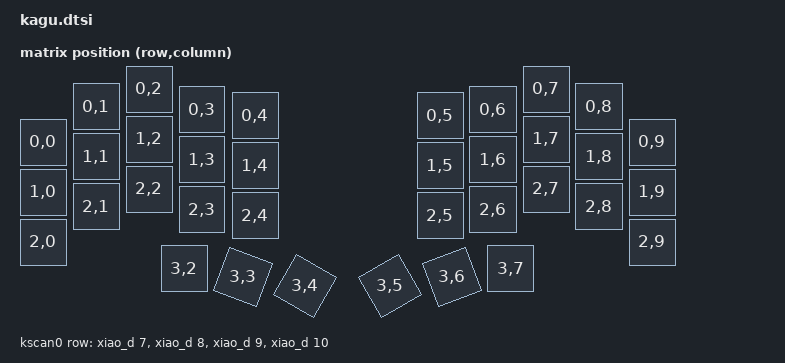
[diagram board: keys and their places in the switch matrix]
#include <dt-bindings/zmk/matrix_transform.h>
#include <physical_layouts.dtsi>

/ {
    chosen {
        zmk,kscan = &kscan0;
        zmk,physical-layout = &default_layout;
    };

    kscan0: kscan {
        compatible = "zmk,kscan-gpio-matrix";
        diode-direction = "col2row";
        wakeup-source;

        // col-gpios are per-half, see kagu_{left,right}.overlay
        row-gpios
            = <&xiao_d  7 (GPIO_ACTIVE_HIGH | GPIO_PULL_DOWN)>   // row1
            , <&xiao_d  8 (GPIO_ACTIVE_HIGH | GPIO_PULL_DOWN)>   // row2
            , <&xiao_d  9 (GPIO_ACTIVE_HIGH | GPIO_PULL_DOWN)>   // row3
            , <&xiao_d 10 (GPIO_ACTIVE_HIGH | GPIO_PULL_DOWN)>   // row4
            ;
    };

    // Columns 0-4 are the left half, 5-9 the right half; the right overlay
    // shifts its local columns into 5-9 with col-offset.
//  | SW5  | SW4  | SW3  | SW2  | SW1  |   | SW1  | SW2  | SW3  | SW4  | SW5  |
//  | SW10 | SW9  | SW8  | SW7  | SW6  |   | SW6  | SW7  | SW8  | SW9  | SW10 |
//  | SW15 | SW14 | SW13 | SW12 | SW11 |   | SW11 | SW12 | SW13 | SW14 | SW15 |
//                | SW18 | SW17 | SW16 |   | SW16 | SW17 | SW18 |
    default_transform: keymap_transform {
        compatible = "zmk,matrix-transform";
        columns = <10>;
        rows = <4>;
        map = <
RC(0,0) RC(0,1) RC(0,2) RC(0,3) RC(0,4)   RC(0,5) RC(0,6) RC(0,7) RC(0,8) RC(0,9)
RC(1,0) RC(1,1) RC(1,2) RC(1,3) RC(1,4)   RC(1,5) RC(1,6) RC(1,7) RC(1,8) RC(1,9)
RC(2,0) RC(2,1) RC(2,2) RC(2,3) RC(2,4)   RC(2,5) RC(2,6) RC(2,7) RC(2,8) RC(2,9)
                RC(3,2) RC(3,3) RC(3,4)   RC(3,5) RC(3,6) RC(3,7)
        >;
    };

    // Key positions for ZMK Studio, from the PCB switch centres in
    // case/kagu_{left,right}_geom.scad (1u = 17mm, y flipped, right half
    // shifted 110mm right). Same order as default_transform.
    default_layout: default_layout {
        compatible = "zmk,physical-layout";
        display-name = "Default";
        transform = <&default_transform>;
        kscan = <&kscan0>;
        keys  //                     w   h    x    y     rot   rx   ry
            = <&key_physical_attrs 100 100    0  112       0    0    0>
            , <&key_physical_attrs 100 100  106   41       0    0    0>
            , <&key_physical_attrs 100 100  212    6       0    0    0>
            , <&key_physical_attrs 100 100  318   47       0    0    0>
            , <&key_physical_attrs 100 100  424   59       0    0    0>
            , <&key_physical_attrs 100 100  794   59       0    0    0>
            , <&key_physical_attrs 100 100  900   47       0    0    0>
            , <&key_physical_attrs 100 100 1006    6       0    0    0>
            , <&key_physical_attrs 100 100 1112   41       0    0    0>
            , <&key_physical_attrs 100 100 1218  112       0    0    0>
            , <&key_physical_attrs 100 100    0  212       0    0    0>
            , <&key_physical_attrs 100 100  106  141       0    0    0>
            , <&key_physical_attrs 100 100  212  106       0    0    0>
            , <&key_physical_attrs 100 100  318  147       0    0    0>
            , <&key_physical_attrs 100 100  424  159       0    0    0>
            , <&key_physical_attrs 100 100  794  159       0    0    0>
            , <&key_physical_attrs 100 100  900  147       0    0    0>
            , <&key_physical_attrs 100 100 1006  106       0    0    0>
            , <&key_physical_attrs 100 100 1112  141       0    0    0>
            , <&key_physical_attrs 100 100 1218  212       0    0    0>
            , <&key_physical_attrs 100 100    0  312       0    0    0>
            , <&key_physical_attrs 100 100  106  241       0    0    0>
            , <&key_physical_attrs 100 100  212  206       0    0    0>
            , <&key_physical_attrs 100 100  318  247       0    0    0>
            , <&key_physical_attrs 100 100  424  259       0    0    0>
            , <&key_physical_attrs 100 100  794  259       0    0    0>
            , <&key_physical_attrs 100 100  900  247       0    0    0>
            , <&key_physical_attrs 100 100 1006  206       0    0    0>
            , <&key_physical_attrs 100 100 1112  241       0    0    0>
            , <&key_physical_attrs 100 100 1218  312       0    0    0>
            , <&key_physical_attrs 100 100  282  365       0    0    0>
            , <&key_physical_attrs 100 100  400  382    2000  450  432>
            , <&key_physical_attrs 100 100  524  400    3000  574  450>
            , <&key_physical_attrs 100 100  694  400 (-3000)  744  450>
            , <&key_physical_attrs 100 100  818  382 (-2000)  868  432>
            , <&key_physical_attrs 100 100  935  365       0    0    0>
            ;
    };
};
